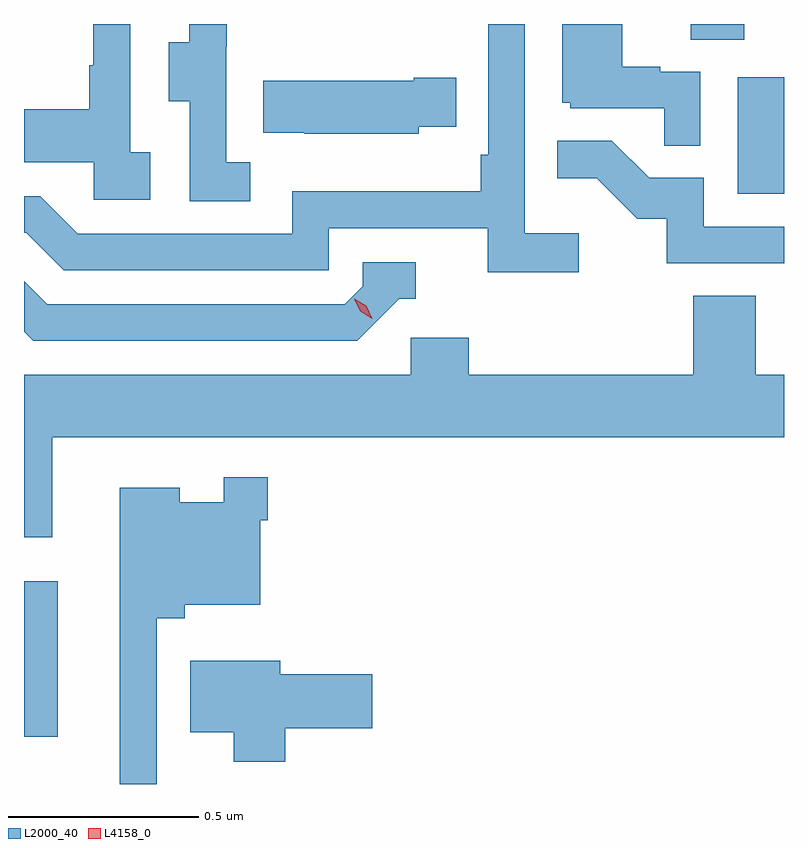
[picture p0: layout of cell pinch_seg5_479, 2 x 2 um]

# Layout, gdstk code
import gdstk
lib = gdstk.Library(unit=1e-6, precision=1e-09)
def R(c, l, rs):  # rectangles x0, y0, x1, y1
    for r in rs: c.add(gdstk.rectangle(r[:2], r[2:], *l))
def P(c, l, *ps):  # polygons
    for p in ps: c.add(gdstk.Polygon(p, *l))
L2000_40 = (2000, 40)
L4158_0 = (4158, 0)

pinch_seg5_479 = lib.new_cell('pinch_seg5_479')
R(pinch_seg5_479, L2000_40, [(900.524,854.639,900.613,855.049), (902.402,856.068,902.524,856.375), (902.279,856.474,902.419,856.515)])
P(pinch_seg5_479, L2000_40, [(901.984,855.964),(901.842,855.964),(901.842,856.515),(901.746,856.515),(901.746,856.171),(901.726,856.171),(901.726,856.075),(901.23,856.075),(901.23,855.963),(900.666,855.963),(900.567,856.062),(900.524,856.062),(900.524,855.966),(900.53,855.966),(900.629,855.867),(901.326,855.867),(901.326,855.978),(901.745,855.978),(901.745,855.862),(901.984,855.862)],
  [(902.304,856.389),(902.198,856.389),(902.198,856.402),(902.098,856.402),(902.098,856.515),(901.94,856.515),(901.94,856.308),(901.962,856.308),(901.962,856.293),(902.209,856.293),(902.209,856.195),(902.304,856.195)],
  [(900.856,856.178),(900.804,856.178),(900.804,856.515),(900.706,856.515),(900.706,856.406),(900.696,856.406),(900.696,856.291),(900.524,856.291),(900.524,856.151),(900.708,856.151),(900.708,856.053),(900.856,856.053)],
  [(901.12,856.151),(901.056,856.151),(901.056,856.455),(901.058,856.455),(901.058,856.515),(900.959,856.515),(900.959,856.467),(900.905,856.467),(900.905,856.312),(900.96,856.312),(900.96,856.048),(901.12,856.048)],
  [(901.563,856.244),(901.661,856.244),(901.661,856.374),(901.55,856.374),(901.55,856.366),(901.153,856.366),(901.153,856.229),(901.261,856.229),(901.261,856.226),(901.563,856.226)],
  [(902.524,855.981),(902.313,855.981),(902.313,856.11),(902.169,856.11),(902.071,856.208),(901.927,856.208),(901.927,856.109),(902.031,856.109),(902.138,856.002),(902.215,856.002),(902.215,855.885),(902.524,855.885)],
  [(901.512,855.792),(901.555,855.792),(901.555,855.888),(901.416,855.888),(901.416,855.825),(901.368,855.777),(900.585,855.777),(900.524,855.838),(900.524,855.705),(900.548,855.681),(901.401,855.681)],
  [(900.598,855.428),(902.524,855.428),(902.524,855.592),(902.45,855.592),(902.45,855.8),(902.285,855.8),(902.285,855.592),(901.694,855.592),(901.694,855.69),(901.542,855.69),(901.542,855.592),(900.524,855.592),(900.524,855.165),(900.598,855.165)],
  [(900.873,854.951),(900.947,854.951),(900.947,854.987),(901.146,854.987),(901.146,855.209),(901.166,855.209),(901.166,855.322),(901.05,855.322),(901.05,855.256),(900.934,855.256),(900.934,855.295),(900.776,855.295),(900.776,854.515),(900.873,854.515)],
  [(901.211,854.662),(901.441,854.662),(901.441,854.804),(901.198,854.804),(901.198,854.839),(900.962,854.839),(900.962,854.651),(901.076,854.651),(901.076,854.573),(901.211,854.573)])
P(pinch_seg5_479, L4158_0, [(901.44,855.74),(901.409,855.759),(901.393,855.792),(901.393,855.792),(901.393,855.792),(901.424,855.773),(901.44,855.74),(901.44,855.74)])

lib.write_gds('pinch_seg5_479.gds')
